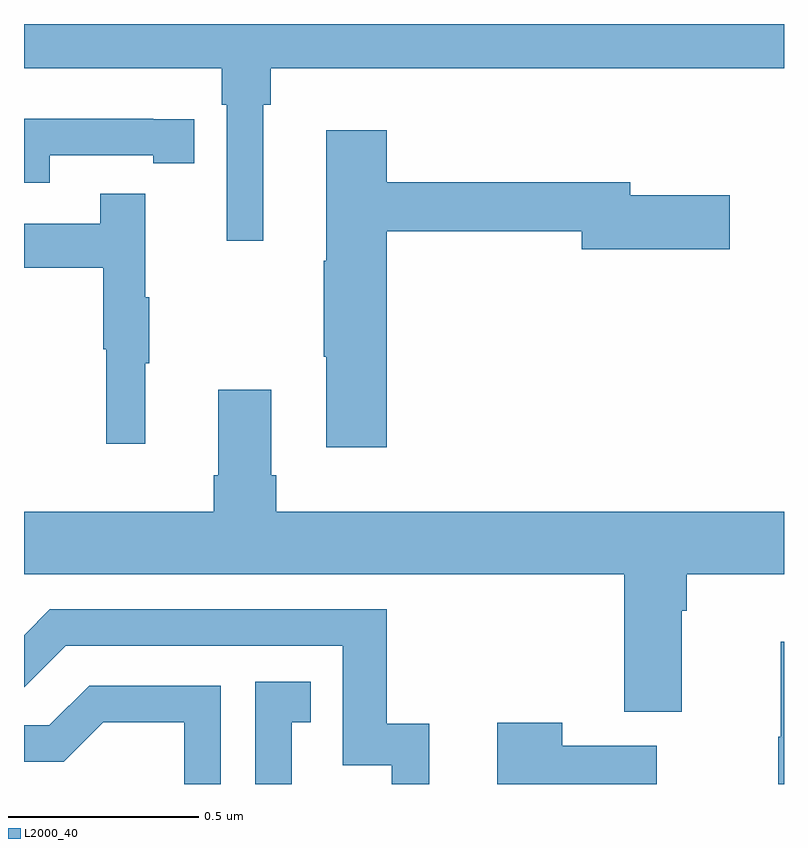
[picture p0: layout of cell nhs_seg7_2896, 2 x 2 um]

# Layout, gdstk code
import gdstk
lib = gdstk.Library(unit=1e-6, precision=1e-09)
def P(c, l, *ps):  # polygons
    for p in ps: c.add(gdstk.Polygon(p, *l))
L2000_40 = (2000, 40)

nhs_seg7_2896 = lib.new_cell('nhs_seg7_2896')
P(nhs_seg7_2896, L2000_40, [(151.63,1065.788),(151.649,1065.788),(151.649,1065.884),(153,1065.884),(153,1066),(151,1066),(151,1065.884),(151.52,1065.884),(151.52,1065.788),(151.533,1065.788),(151.533,1065.429),(151.63,1065.429)],
  [(151.068,1065.654),(151.34,1065.654),(151.34,1065.634),(151.448,1065.634),(151.448,1065.75),(151.34,1065.75),(151.34,1065.751),(151,1065.751),(151,1065.582),(151.068,1065.582)],
  [(151.955,1065.454),(152.468,1065.454),(152.468,1065.407),(152.857,1065.407),(152.857,1065.549),(152.596,1065.549),(152.596,1065.583),(151.955,1065.583),(151.955,1065.721),(151.796,1065.721),(151.796,1065.377),(151.789,1065.377),(151.789,1065.124),(151.796,1065.124),(151.796,1064.886),(151.955,1064.886)],
  [(151.319,1065.107),(151.33,1065.107),(151.33,1065.281),(151.319,1065.281),(151.319,1065.553),(151.201,1065.553),(151.201,1065.474),(151,1065.474),(151,1065.358),(151.209,1065.358),(151.209,1065.144),(151.216,1065.144),(151.216,1064.895),(151.319,1064.895)],
  [(152.731,1064.456),(152.744,1064.456),(152.744,1064.552),(153,1064.552),(153,1064.716),(151.664,1064.716),(151.664,1064.812),(151.651,1064.812),(151.651,1065.037),(151.511,1065.037),(151.511,1064.812),(151.499,1064.812),(151.499,1064.716),(151,1064.716),(151,1064.552),(152.579,1064.552),(152.579,1064.19),(152.731,1064.19)],
  [(152.066,1064.158),(151.955,1064.158),(151.955,1064.46),(151.068,1064.46),(151,1064.392),(151,1064.254),(151.11,1064.364),(151.839,1064.364),(151.839,1064.049),(151.968,1064.049),(151.968,1064),(152.066,1064)],
  [(153,1064.374),(152.992,1064.374),(152.992,1064.124),(152.985,1064.124),(152.985,1064),(153,1064)],
  [(151.705,1064.163),(151.754,1064.163),(151.754,1064.269),(151.608,1064.269),(151.608,1064),(151.705,1064)],
  [(151.518,1064.259),(151.172,1064.259),(151.067,1064.154),(151,1064.154),(151,1064.058),(151.104,1064.058),(151.208,1064.162),(151.422,1064.162),(151.422,1064),(151.518,1064)],
  [(152.665,1064.101),(152.417,1064.101),(152.417,1064.161),(152.246,1064.161),(152.246,1064),(152.665,1064)])

lib.write_gds('nhs_seg7_2896.gds')
